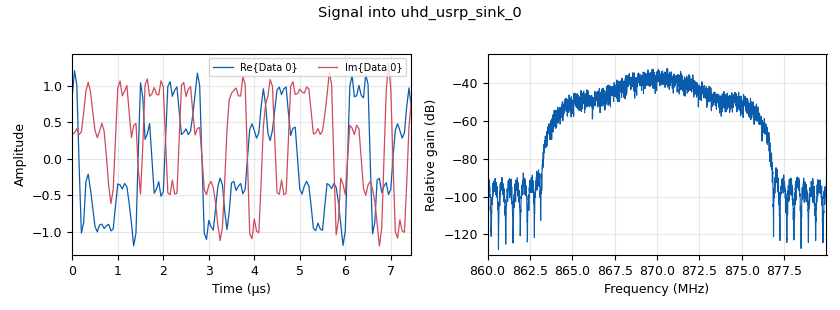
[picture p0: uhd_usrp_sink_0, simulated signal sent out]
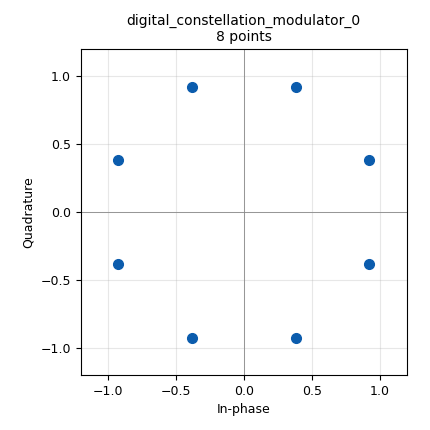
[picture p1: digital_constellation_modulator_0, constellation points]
options:
  parameters:
    author: yewentai
    generate_options: qt_gui
    id: tx
    output_language: python
    title: Not titled yet
  states: {}

blocks:
- name: Bandwidth
  id: variable_qtgui_range
  parameters:
    start: 200e3
    step: '100'
    stop: 56e6
    value: 20e6
  states: {}
- name: Frequency
  id: variable_qtgui_range
  parameters:
    start: 70e6
    step: '1000'
    stop: 6000e6
    value: 870e6
  states: {}
- name: RF_Gain
  id: variable_qtgui_range
  parameters:
    start: '0'
    step: '1'
    stop: '40'
    value: '10'
  states: {}
- name: encoder
  id: variable_constellation
  parameters:
    precision: '8'
    type: 8psk
  states: {}
- name: samp_rate
  id: variable
  parameters:
    value: '25000'
  states: {}
- name: analog_random_source_x_0_0
  id: analog_random_source_x
  parameters:
    max: '8'
    min: '0'
    num_samps: '1000'
    repeat: 'True'
    type: byte
  states: {}
- name: blocks_throttle2_0
  id: blocks_throttle2
  parameters:
    samples_per_second: samp_rate
    type: byte
  states: {state: bypassed}
- name: digital_constellation_modulator_0
  id: digital_constellation_modulator
  parameters:
    constellation: encoder
    differential: 'True'
    excess_bw: '0.35'
    samples_per_symbol: '2'
  states: {}
- name: qtgui_const_sink_x_0
  id: qtgui_const_sink_x
  parameters:
    size: '1024'
    type: complex
  states: {state: disabled}
- name: qtgui_time_sink_x_0
  id: qtgui_time_sink_x
  parameters:
    size: '1024'
    srate: samp_rate
    type: complex
  states: {state: disabled}
- name: uhd_usrp_sink_0
  id: uhd_usrp_sink
  parameters:
    ant0: '"TX/RX"'
    bw0: Bandwidth
    center_freq0: Frequency
    dev_addr: ''
    gain0: RF_Gain
    samp_rate: Bandwidth
    sync: none
    type: fc32
  states: {}

connections:
- [analog_random_source_x_0_0, '0', blocks_throttle2_0, '0']
- [blocks_throttle2_0, '0', digital_constellation_modulator_0, '0']
- [digital_constellation_modulator_0, '0', qtgui_const_sink_x_0, '0']
- [digital_constellation_modulator_0, '0', uhd_usrp_sink_0, '0']

metadata:
  file_format: 1
  grc_version: 3.10.9.2
